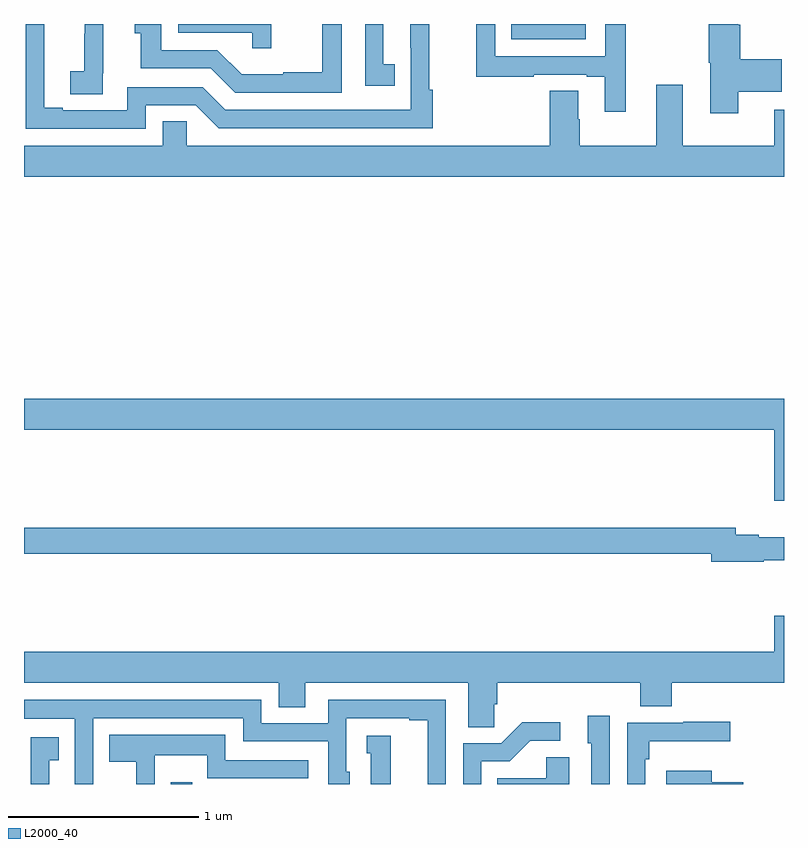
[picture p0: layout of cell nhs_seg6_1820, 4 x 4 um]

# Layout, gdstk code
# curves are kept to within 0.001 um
import gdstk
lib = gdstk.Library(unit=1e-6, precision=1e-09)
def R(c, l, rs):  # rectangles x0, y0, x1, y1
    for r in rs: c.add(gdstk.rectangle(r[:2], r[2:], *l))
def P(c, l, *ps):  # polygons
    for p in ps: c.add(gdstk.Polygon(p, *l))
L2000_40 = (2000, 40)

nhs_seg6_1820 = lib.new_cell('nhs_seg6_1820')
R(nhs_seg6_1820, L2000_40, [(221.773,917.5,221.886,917.509), (223.564,921.419,223.957,921.5)])
P(nhs_seg6_1820, L2000_40, [(222.302,921.5),(221.811,921.5),(221.811,921.453),(222.201,921.453),(222.201,921.372),(222.302,921.372)],
  [(224.167,921.5),(224.058,921.5),(224.058,921.33),(223.479,921.33),(223.479,921.5),(223.381,921.5),(223.381,921.222),(223.682,921.222),(223.682,921.234),(223.961,921.234),(223.961,921.222),(224.057,921.222),(224.057,921.039),(224.167,921.039)],
  [(222.95,921.287),(222.892,921.287),(222.892,921.5),(222.795,921.5),(222.795,921.174),(222.95,921.174)],
  [(222.672,921.5),(222.571,921.5),(222.571,921.247),(222.365,921.247),(222.365,921.235),(222.146,921.235),(222.018,921.363),(221.722,921.363),(221.722,921.5),(221.582,921.5),(221.582,921.451),(221.615,921.451),(221.615,921.267),(221.982,921.267),(222.111,921.138),(222.672,921.138)],
  [(224.758,921.143),(224.989,921.143),(224.989,921.314),(224.771,921.314),(224.771,921.497),(224.758,921.497),(224.758,921.5),(224.605,921.5),(224.605,921.297),(224.612,921.297),(224.612,921.03),(224.758,921.03)],
  [(221.64,921.072),(221.904,921.072),(222.024,920.952),(223.151,920.952),(223.151,921.155),(223.134,921.155),(223.134,921.5),(223.034,921.5),(223.035,921.048),(222.06,921.048),(221.94,921.168),(221.544,921.168),(221.544,921.045),(221.203,921.045),(221.203,921.06),(221.107,921.06),(221.107,921.5),(221.01,921.5),(221.01,920.949),(221.64,920.949)],
  [(221.414,921.241),(221.416,921.241),(221.416,921.5),(221.319,921.5),(221.319,921.449),(221.318,921.449),(221.318,921.252),(221.244,921.252),(221.244,921.13),(221.414,921.13)],
  [(225,921.049),(224.948,921.049),(224.948,920.86),(224.467,920.86),(224.467,921.181),(224.327,921.181),(224.327,920.86),(223.926,920.86),(223.926,920.999),(223.918,920.999),(223.918,921.149),(223.766,921.149),(223.766,920.86),(221.856,920.86),(221.856,920.987),(221.729,920.987),(221.729,920.86),(221,920.86),(221,920.696),(225,920.696)],
  [(225,919.528),(221,919.528),(221,919.364),(224.948,919.364),(224.948,918.99),(225,918.99)],
  [(224.894,918.677),(225,918.677),(225,918.799),(224.868,918.799),(224.868,918.812),(224.746,918.812),(224.746,918.848),(221,918.848),(221,918.712),(224.618,918.712),(224.618,918.67),(224.894,918.67)],
  [(223.475,917.92),(223.49,917.92),(223.49,918.032),(224.243,918.032),(224.243,917.908),(224.408,917.908),(224.408,918.032),(225,918.032),(225,918.385),(224.948,918.385),(224.948,918.196),(221,918.196),(221,918.032),(222.341,918.032),(222.341,917.905),(222.481,917.905),(222.481,918.032),(223.337,918.032),(223.337,917.8),(223.475,917.8)],
  [(221.364,917.847),(222.153,917.847),(222.153,917.724),(222.6,917.724),(222.6,917.5),(222.715,917.5),(222.715,917.565),(222.696,917.565),(222.696,917.847),(223.028,917.847),(223.028,917.835),(223.124,917.835),(223.124,917.5),(223.221,917.5),(223.221,917.943),(222.6,917.943),(222.6,917.82),(222.249,917.82),(222.249,917.943),(221.261,917.943),(221.261,917.944),(221,917.944),(221,917.843),(221.268,917.843),(221.268,917.5),(221.364,917.5)],
  [(224.082,917.86),(223.967,917.86),(223.967,917.715),(223.986,917.715),(223.986,917.5),(224.082,917.5)],
  [(224.271,917.63),(224.291,917.63),(224.291,917.726),(224.716,917.726),(224.716,917.827),(224.471,917.827),(224.471,917.823),(224.175,917.823),(224.175,917.5),(224.271,917.5)],
  [(223.407,917.619),(223.557,917.619),(223.665,917.727),(223.822,917.727),(223.822,917.825),(223.622,917.825),(223.512,917.715),(223.311,917.715),(223.311,917.5),(223.407,917.5)],
  [(221.688,917.651),(221.964,917.651),(221.964,917.53),(222.067,917.53),(222.067,917.529),(222.496,917.529),(222.496,917.625),(222.06,917.625),(222.06,917.758),(221.449,917.758),(221.449,917.618),(221.591,917.618),(221.591,917.5),(221.688,917.5)],
  [(222.931,917.754),(222.803,917.754),(222.803,917.661),(222.824,917.661),(222.824,917.5),(222.931,917.5)],
  [(221.134,917.625),(221.183,917.625),(221.183,917.746),(221.036,917.746),(221.036,917.5),(221.134,917.5)],
  [(223.87,917.642),(223.748,917.642),(223.748,917.53),(223.492,917.53),(223.492,917.5),(223.87,917.5)],
  [(224.785,917.509),(224.62,917.509),(224.62,917.569),(224.381,917.569),(224.381,917.5),(224.785,917.5)])

lib.write_gds('nhs_seg6_1820.gds')
